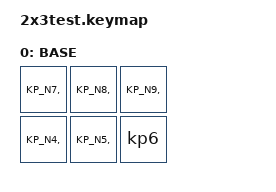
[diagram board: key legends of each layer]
#include <behaviors.dtsi>
#include <dt-bindings/zmk/keys.h>
#include <dt-bindings/zmk/bt.h>
#include <dt-bindings/zmk/outputs.h>

#define BASE 0

keymap {
    compatible = "zmk,keymap";

    base_layer {
        label = "BASE";

        // | KP7 | KP8 | KP9 |
        // | KP4 | KP5 | KP6 |

        bindings = <
            &kp KP_N7, &kp KP_N8, &kp KP_N9,
            &kp KP_N4, &kp KP_N5, &kp KP_N6
        >;
    }
};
